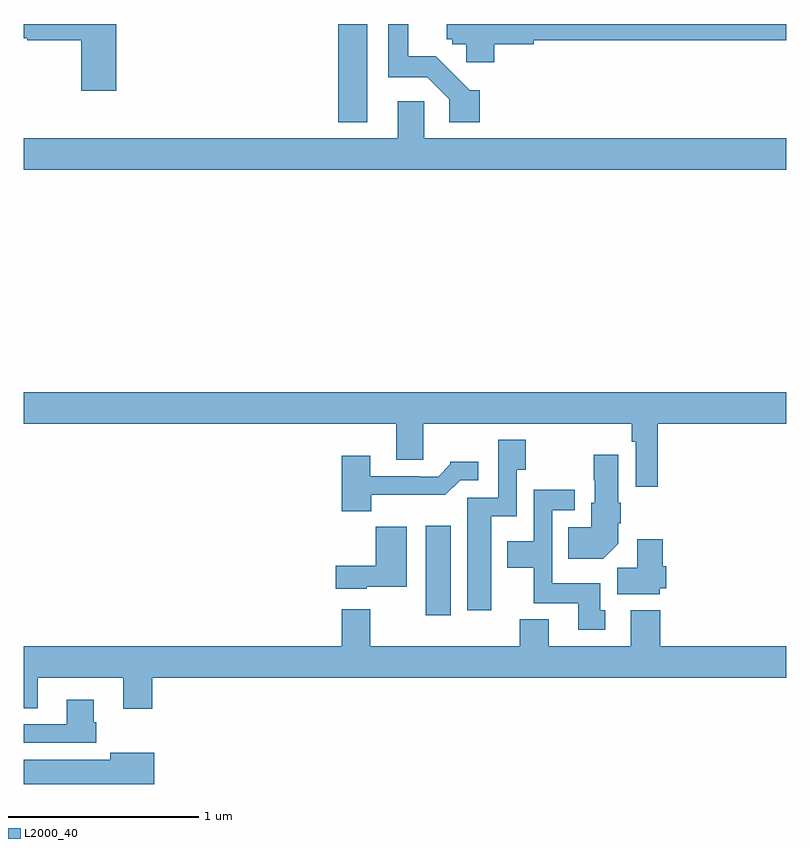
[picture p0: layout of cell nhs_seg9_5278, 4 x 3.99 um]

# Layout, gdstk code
import gdstk
lib = gdstk.Library(unit=1e-6, precision=1e-09)
def R(c, l, rs):  # rectangles x0, y0, x1, y1
    for r in rs: c.add(gdstk.rectangle(r[:2], r[2:], *l))
def P(c, l, *ps):  # polygons
    for p in ps: c.add(gdstk.Polygon(p, *l))
L2000_40 = (2000, 40)

nhs_seg9_5278 = lib.new_cell('nhs_seg9_5278')
R(nhs_seg9_5278, L2000_40, [(419.108,1211.4,419.239,1211.869), (418.649,1213.985,418.801,1214.5)])
P(nhs_seg9_5278, L2000_40, [(417.485,1214.5),(417,1214.5),(417,1214.424),(417.018,1214.424),(417.018,1214.416),(417.302,1214.416),(417.302,1214.151),(417.485,1214.151)],
  [(419.468,1214.393),(419.674,1214.393),(419.674,1214.416),(421,1214.416),(421,1214.5),(419.219,1214.5),(419.219,1214.421),(419.247,1214.421),(419.247,1214.394),(419.322,1214.394),(419.322,1214.3),(419.468,1214.3)],
  [(419.393,1214.152),(419.339,1214.152),(419.161,1214.33),(419.017,1214.33),(419.017,1214.5),(418.913,1214.5),(418.913,1214.22),(419.118,1214.22),(419.232,1214.106),(419.232,1213.986),(419.393,1213.986)],
  [(421,1213.9),(419.1,1213.9),(419.1,1214.095),(418.961,1214.095),(418.961,1213.9),(417,1213.9),(417,1213.736),(421,1213.736)],
  [(420.326,1212.404),(421,1212.404),(421,1212.568),(417,1212.568),(417,1212.404),(418.955,1212.404),(418.955,1212.214),(419.095,1212.214),(419.095,1212.404),(420.19,1212.404),(420.19,1212.308),(420.21,1212.308),(420.21,1212.072),(420.326,1212.072)],
  [(419.452,1211.918),(419.586,1211.918),(419.586,1212.163),(419.634,1212.163),(419.634,1212.319),(419.49,1212.319),(419.49,1212.015),(419.327,1212.015),(419.327,1211.424),(419.452,1211.424)],
  [(420.118,1211.774),(420.118,1211.881),(420.131,1211.881),(420.131,1211.988),(420.118,1211.988),(420.118,1212.241),(419.989,1212.241),(419.989,1212.108),(419.996,1212.108),(419.996,1211.988),(419.978,1211.988),(419.978,1211.86),(419.857,1211.86),(419.857,1211.696),(420.04,1211.696)],
  [(418.822,1212.03),(419.211,1212.03),(419.289,1212.108),(419.383,1212.108),(419.383,1212.205),(419.238,1212.205),(419.238,1212.19),(419.174,1212.126),(419.075,1212.126),(419.075,1212.129),(418.819,1212.129),(418.819,1212.235),(418.667,1212.235),(418.667,1211.945),(418.822,1211.945)],
  [(420.049,1211.424),(420.025,1211.424),(420.025,1211.566),(419.772,1211.566),(419.772,1211.949),(419.89,1211.949),(419.89,1212.058),(419.676,1212.058),(419.676,1211.788),(419.537,1211.788),(419.537,1211.648),(419.674,1211.648),(419.674,1211.462),(419.909,1211.462),(419.909,1211.322),(420.049,1211.322)],
  [(418.8,1211.549),(419.008,1211.549),(419.008,1211.863),(418.846,1211.863),(418.846,1211.659),(418.638,1211.659),(418.638,1211.537),(418.8,1211.537)],
  [(420.336,1211.541),(420.371,1211.541),(420.371,1211.655),(420.353,1211.655),(420.353,1211.797),(420.218,1211.797),(420.218,1211.648),(420.113,1211.648),(420.113,1211.51),(420.336,1211.51)],
  [(417.674,1211.072),(421,1211.072),(421,1211.236),(420.338,1211.236),(420.338,1211.425),(420.185,1211.425),(420.185,1211.236),(419.755,1211.236),(419.755,1211.377),(419.603,1211.377),(419.603,1211.236),(418.819,1211.236),(418.819,1211.431),(418.667,1211.431),(418.667,1211.236),(417,1211.236),(417,1210.912),(417.073,1210.912),(417.073,1211.072),(417.521,1211.072),(417.521,1210.908),(417.674,1210.908)],
  [(417.38,1210.839),(417.367,1210.839),(417.367,1210.957),(417.227,1210.957),(417.227,1210.827),(417,1210.827),(417,1210.731),(417.38,1210.731)],
  [(417.685,1210.678),(417.455,1210.678),(417.455,1210.642),(417,1210.642),(417,1210.514),(417.685,1210.514)])

lib.write_gds('nhs_seg9_5278.gds')
